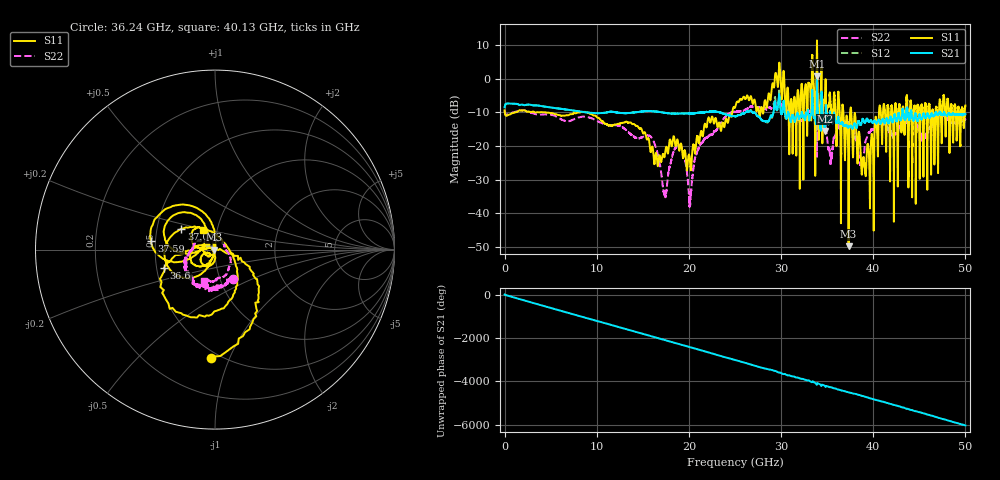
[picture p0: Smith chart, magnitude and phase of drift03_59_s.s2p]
!Created with skrf (http://scikit-rf.org).
# Hz S RI R 50.0
!freq ReS11 ImS11 ReS21 ImS21 ReS12 ImS12 ReS22 ImS22
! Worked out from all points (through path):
!   10001 points, 300 kHz to 50 GHz, reference 50 ohm
!   highest |S21| = 0.72 dB at 33.9 GHz (marker M1); lowest = -15.5 dB at 34.8 GHz (marker M2)
!   group delay of S21, straight-line fit = 335 ps
!   lowest |S11| = -49.8 dB at 37.33 GHz (marker M3), VSWR 1.01, Z = 49.7 - j0.103 ohm
!   |S11| at or under -10 dB: 4.469 GHz to 8.191 GHz (3.722 GHz wide, 58.8 % of centre); 9.021 GHz to 24.7 GHz (15.68 GHz wide, 93 % of centre); 37.62 GHz to 40.62 GHz (3.001 GHz wide, 7.67 % of centre) (the widest 3 of 53)
!   |S22| runs from -38.1 to -5.9 dB; largest |S21 - S12| = 0.11
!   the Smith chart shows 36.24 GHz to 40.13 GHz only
!   S11 on the Smith chart (normalised r, x): 36.24 GHz: 0.45, -0.86; 36.6 GHz: 0.55, -0.12; 37.04 GHz: 0.67, +0.16; 37.59 GHz: 0.47, +0.05; 40.13 GHz: 0.86, +0.19
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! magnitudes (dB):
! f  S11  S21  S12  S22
! 300 kHz  -9.4  -8.5  -8.5  -9.4
! 8.335 GHz  -9.8  -9.8  -9.8  -11.3
! 16.67 GHz  -25.4  -9.8  -9.8  -23.1
! 17.39 GHz  -22.6  -10.1  -10.1  -34.9
! 19.08 GHz  -19.6  -10.3  -10.3  -20.1
! 20.14 GHz  -24.9  -10.3  -10.3  -37.6
! 21.19 GHz  -17.8  -10.1  -10.1  -19.8
! 25 GHz  -8.5  -11.1  -11.1  -9.8
! 29.66 GHz  -2.3  -8.3  -8.4  -7.1
! 31.08 GHz  -6.1  -12.6  -12.7  -10.5
! 33.34 GHz  0.6  -7.4  -7.5  -9.4
! 33.9 GHz  11.4  0.7  0.3  -23.2
! 34.8 GHz  -3.4  -15.5  -13.6  -14.4
! 36.24 GHz  -4.4  -11.7  -11.7  -14.3
! 36.6 GHz  -10.4  -13.1  -13.0  -13.6
! 37.04 GHz  -13.2  -13.8  -14.0  -13.4
! 37.33 GHz  -49.8  -14.3  -14.5  -13.7
! 37.59 GHz  -8.9  -13.9  -13.9  -13.8
! 38.71 GHz  -26.0  -13.4  -13.3  -25.5
! 40.13 GHz  -17.9  -12.5  -12.5  -14.6
! 41.67 GHz  -9.5  -13.3  -13.2  -15.0
! 50 GHz  -7.9  -10.5  -10.6  -12.2
